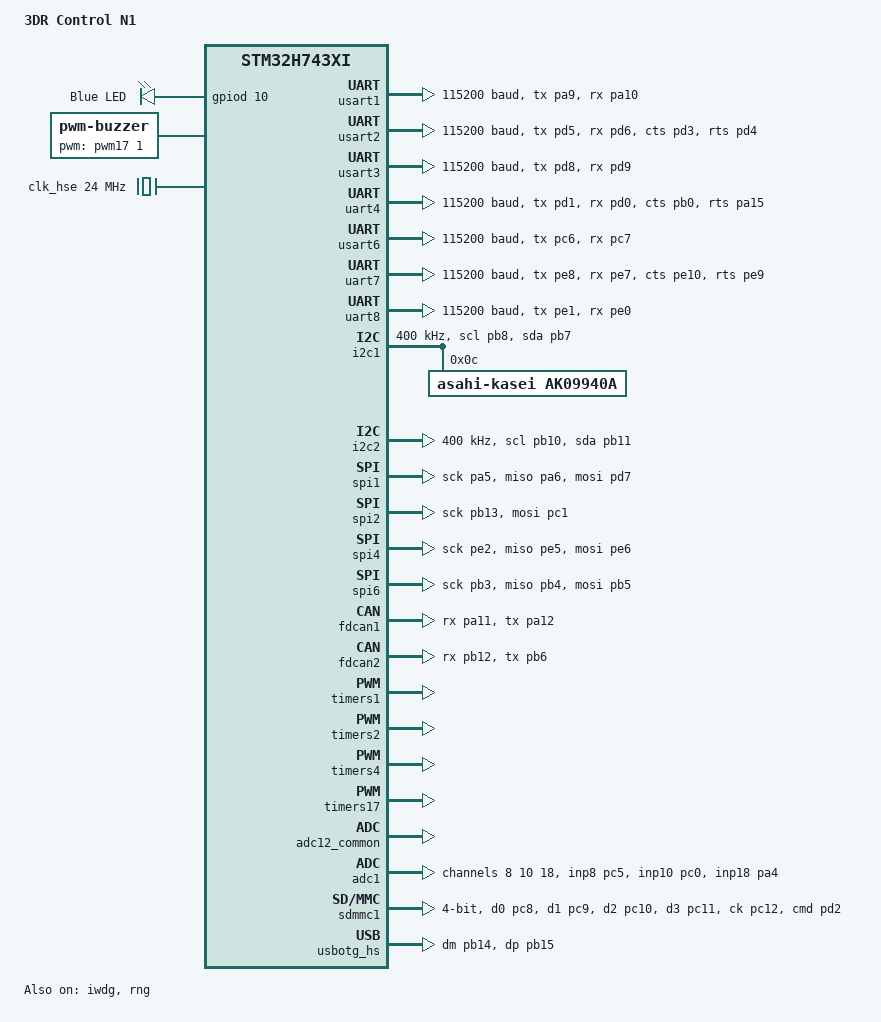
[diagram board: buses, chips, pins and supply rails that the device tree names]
/*
 * SPDX-FileCopyrightText: Copyright The Zephyr Project Contributors
 * SPDX-License-Identifier: Apache-2.0
 */

#include <st/h7/stm32h743Xi.dtsi>
#include <st/h7/stm32h743v(g-i)hx-pinctrl.dtsi>
#include "control_n1_connector.dtsi"

/ {
	model = "3DR Control N1";

	chosen {
		zephyr,console = &uart7;
		zephyr,shell-uart = &uart7;
		zephyr,sram = &sram0;
		zephyr,flash = &flash0;
		zephyr,dtcm = &dtcm;
		zephyr,itcm = &itcm;
		zephyr,canbus = &fdcan1;
	};

	/* The WS2812B RGB LED on PB1 (TIM3_CH4) is not supported yet. */
	leds {
		compatible = "gpio-leds";

		blue_led: led_0 {
			gpios = <&gpiod 10 GPIO_ACTIVE_HIGH>;
			label = "Blue LED";
		};
	};

	buzzer: buzzer {
		compatible = "pwm-buzzer";
		pwms = <&pwm17 1 PWM_HZ(2700) PWM_POLARITY_NORMAL>;
	};

	aliases {
		led0 = &blue_led;
		buzzer0 = &buzzer;
		magn0 = &ak09940a;
		sdhc0 = &sdmmc1;
		watchdog0 = &iwdg;
	};
};

&clk_hsi48 {
	status = "okay";
};

&clk_hse {
	hse-bypass;
	clock-frequency = <DT_FREQ_M(24)>;
	status = "okay";
};

&pll {
	div-m = <3>;
	mul-n = <120>;
	div-p = <2>;
	div-q = <5>;
	div-r = <2>;
	clocks = <&clk_hse>;
	status = "okay";
};

/* 80 MHz FDCAN kernel clock */
&pll2 {
	div-m = <3>;
	mul-n = <60>;
	div-p = <2>;
	div-q = <6>;
	div-r = <2>;
	clocks = <&clk_hse>;
	status = "okay";
};

/* 48 MHz USB clock */
&pll3 {
	div-m = <3>;
	mul-n = <48>;
	div-p = <2>;
	div-q = <8>;
	div-r = <2>;
	clocks = <&clk_hse>;
	status = "okay";
};

&rcc {
	clocks = <&pll>;
	clock-frequency = <DT_FREQ_M(480)>;
	d1cpre = <1>;
	hpre = <2>;
	d1ppre = <2>;
	d2ppre1 = <2>;
	d2ppre2 = <2>;
	d3ppre = <2>;
};

&pwr {
	power-supply = "ldo";
};

&usart1 {
	pinctrl-0 = <&usart1_tx_pa9 &usart1_rx_pa10>;
	pinctrl-names = "default";
	current-speed = <115200>;
	status = "okay";
};

&usart2 {
	pinctrl-0 = <&usart2_tx_pd5 &usart2_rx_pd6 &usart2_cts_pd3 &usart2_rts_pd4>;
	pinctrl-names = "default";
	current-speed = <115200>;
	status = "okay";
};

&usart3 {
	pinctrl-0 = <&usart3_tx_pd8 &usart3_rx_pd9>;
	pinctrl-names = "default";
	current-speed = <115200>;
	status = "okay";
};

&uart4 {
	pinctrl-0 = <&uart4_tx_pd1 &uart4_rx_pd0 &uart4_cts_pb0 &uart4_rts_pa15>;
	pinctrl-names = "default";
	current-speed = <115200>;
	status = "okay";
};

&usart6 {
	pinctrl-0 = <&usart6_tx_pc6 &usart6_rx_pc7>;
	pinctrl-names = "default";
	current-speed = <115200>;
	status = "okay";
};

&uart7 {
	pinctrl-0 = <&uart7_tx_pe8 &uart7_rx_pe7 &uart7_cts_pe10 &uart7_rts_pe9>;
	pinctrl-names = "default";
	current-speed = <115200>;
	status = "okay";
};

&uart8 {
	pinctrl-0 = <&uart8_tx_pe1 &uart8_rx_pe0>;
	pinctrl-names = "default";
	current-speed = <115200>;
	status = "okay";
};

&i2c1 {
	pinctrl-0 = <&i2c1_scl_pb8 &i2c1_sda_pb7>;
	pinctrl-names = "default";
	clock-frequency = <I2C_BITRATE_FAST>;
	status = "okay";

	ak09940a: magnetometer@c {
		compatible = "asahi-kasei,ak09940a";
		reg = <0x0c>;
	};
};

&i2c2 {
	pinctrl-0 = <&i2c2_scl_pb10 &i2c2_sda_pb11>;
	pinctrl-names = "default";
	clock-frequency = <I2C_BITRATE_FAST>;
	status = "okay";
};

&spi1 {
	pinctrl-0 = <&spi1_sck_pa5 &spi1_miso_pa6 &spi1_mosi_pd7>;
	pinctrl-names = "default";
	st,gpio-control;
	cs-gpios = <&gpioe 12 GPIO_ACTIVE_LOW>;
	status = "okay";

	/* CS0: IIM-42653 IMU, not supported yet */
};

&spi2 {
	pinctrl-0 = <&spi2_sck_pb13 &spi2_miso_pc2_c &spi2_mosi_pc1>;
	pinctrl-names = "default";
	st,gpio-control;
	cs-gpios = <&gpioe 15 GPIO_ACTIVE_LOW>;
	status = "okay";

	/* CS0: IIM-42653 IMU, not supported yet */
};

&spi4 {
	pinctrl-0 = <&spi4_sck_pe2 &spi4_miso_pe5 &spi4_mosi_pe6>;
	pinctrl-names = "default";
	st,gpio-control;
	cs-gpios = <&gpiob 2 GPIO_ACTIVE_LOW>;
	status = "okay";
};

&spi6 {
	pinctrl-0 = <&spi6_sck_pb3 &spi6_miso_pb4 &spi6_mosi_pb5>;
	pinctrl-names = "default";
	st,gpio-control;
	cs-gpios = <&gpioe 3 GPIO_ACTIVE_LOW>, <&gpioc 13 GPIO_ACTIVE_LOW>;
	status = "okay";

	/*
	 * CS0: DPS368 barometer, not supported on SPI yet
	 * CS1: M95P08 page EEPROM, not supported yet
	 */
};

&fdcan1 {
	pinctrl-0 = <&fdcan1_rx_pa11 &fdcan1_tx_pa12>;
	pinctrl-names = "default";
	clocks = <&rcc STM32_CLOCK(APB1_2, 8)>,
		 <&rcc STM32_SRC_PLL2_Q FDCAN_SEL(2)>;
	status = "okay";

	can-transceiver {
		max-bitrate = <8000000>;
	};
};

&fdcan2 {
	pinctrl-0 = <&fdcan2_rx_pb12 &fdcan2_tx_pb6>;
	pinctrl-names = "default";
	clocks = <&rcc STM32_CLOCK(APB1_2, 8)>,
		 <&rcc STM32_SRC_PLL2_Q FDCAN_SEL(2)>;
	status = "okay";

	can-transceiver {
		max-bitrate = <8000000>;
	};
};

/* Timers run at 240 MHz: a prescaler of 239 gives 1 us PWM resolution. */
&timers1 {
	st,prescaler = <239>;
	status = "okay";

	pwm1: pwm {
		pinctrl-0 = <&tim1_ch1_pa8 &tim1_ch2_pe11 &tim1_ch3_pe13 &tim1_ch4_pe14>;
		pinctrl-names = "default";
		status = "okay";
	};
};

&timers2 {
	st,prescaler = <239>;
	status = "okay";

	pwm2: pwm {
		pinctrl-0 = <&tim2_ch1_pa0 &tim2_ch2_pa1 &tim2_ch3_pa2 &tim2_ch4_pa3>;
		pinctrl-names = "default";
		status = "okay";
	};
};

&timers4 {
	st,prescaler = <239>;
	status = "okay";

	pwm4: pwm {
		pinctrl-0 = <&tim4_ch1_pd12 &tim4_ch2_pd13 &tim4_ch3_pd14 &tim4_ch4_pd15>;
		pinctrl-names = "default";
		status = "okay";
	};
};

&timers17 {
	st,prescaler = <239>;
	status = "okay";

	pwm17: pwm {
		pinctrl-0 = <&tim17_ch1_pb9>;
		pinctrl-names = "default";
		status = "okay";
	};
};

&adc12_common {
	st,adc-clock-source = "SYNC";
	st,adc-prescaler = <4>;
	status = "okay";
};

&adc1 {
	pinctrl-0 = <&adc1_inp8_pc5 &adc1_inp10_pc0 &adc1_inp18_pa4>;
	pinctrl-names = "default";
	#address-cells = <1>;
	#size-cells = <0>;
	status = "okay";

	/* 5 V supply sense, divided by 2 */
	channel@8 {
		reg = <8>;
		zephyr,gain = "ADC_GAIN_1";
		zephyr,reference = "ADC_REF_INTERNAL";
		zephyr,acquisition-time = <ADC_ACQ_TIME_DEFAULT>;
		zephyr,resolution = <16>;
	};

	channel@a {
		reg = <10>;
		zephyr,gain = "ADC_GAIN_1";
		zephyr,reference = "ADC_REF_INTERNAL";
		zephyr,acquisition-time = <ADC_ACQ_TIME_DEFAULT>;
		zephyr,resolution = <16>;
	};

	channel@12 {
		reg = <18>;
		zephyr,gain = "ADC_GAIN_1";
		zephyr,reference = "ADC_REF_INTERNAL";
		zephyr,acquisition-time = <ADC_ACQ_TIME_DEFAULT>;
		zephyr,resolution = <16>;
	};
};

&sdmmc1 {
	pinctrl-0 = <&sdmmc1_d0_pc8 &sdmmc1_d1_pc9
		     &sdmmc1_d2_pc10 &sdmmc1_d3_pc11
		     &sdmmc1_ck_pc12 &sdmmc1_cmd_pd2>;
	pinctrl-names = "default";
	bus-width = <4>;
	disk-name = "SD";
	status = "okay";
};

zephyr_udc0: &usbotg_hs {
	pinctrl-0 = <&usb_otg_hs_dm_pb14 &usb_otg_hs_dp_pb15>;
	pinctrl-names = "default";
	clocks = <&rcc STM32_CLOCK(AHB1, 25)>,
		 <&rcc STM32_SRC_PLL3_Q USB_SEL(2)>;
	status = "okay";
};

&iwdg {
	status = "okay";
};

&rng {
	status = "okay";
};
